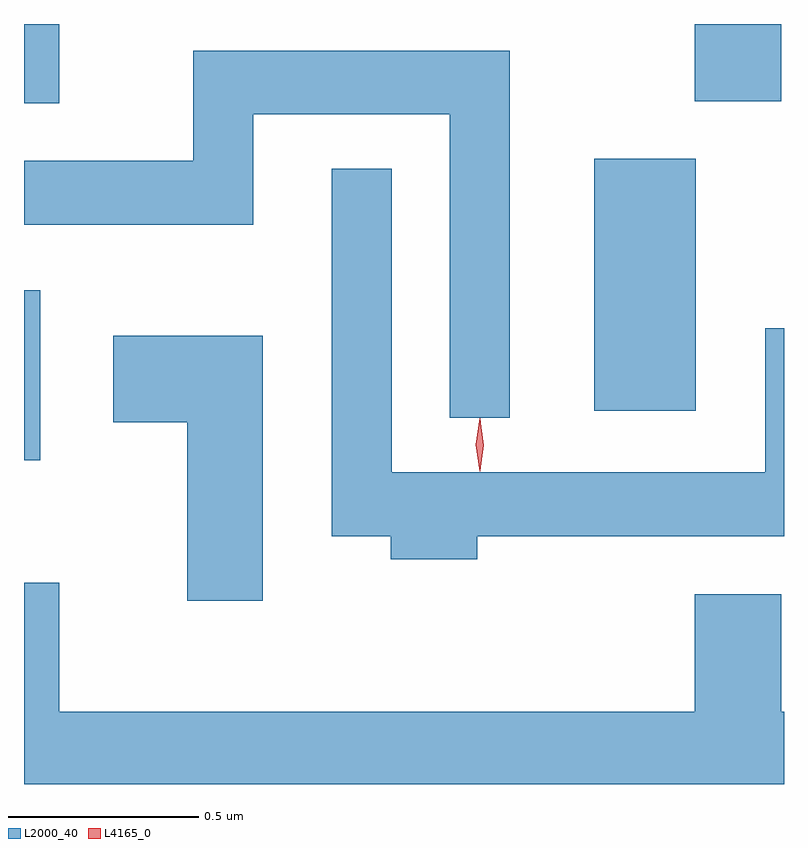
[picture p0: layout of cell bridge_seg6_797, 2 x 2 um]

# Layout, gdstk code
import gdstk
lib = gdstk.Library(unit=1e-6, precision=1e-09)
def R(c, l, rs):  # rectangles x0, y0, x1, y1
    for r in rs: c.add(gdstk.rectangle(r[:2], r[2:], *l))
def P(c, l, *ps):  # polygons
    for p in ps: c.add(gdstk.Polygon(p, *l))
L2000_40 = (2000, 40)
L4165_0 = (4165, 0)

bridge_seg6_797 = lib.new_cell('bridge_seg6_797')
R(bridge_seg6_797, L2000_40, [(418.366,1584.266,418.409,1584.714), (419.866,1584.396,420.134,1585.059), (418.366,1585.206,418.459,1585.414), (420.131,1585.211,420.359,1585.414)])
P(bridge_seg6_797, L2000_40, [(419.644,1585.344),(418.811,1585.344),(418.811,1585.054),(418.366,1585.054),(418.366,1584.886),(418.969,1584.886),(418.969,1585.176),(419.486,1585.176),(419.486,1584.378),(419.644,1584.378)],
  [(419.559,1584.066),(420.366,1584.066),(420.366,1584.613),(420.316,1584.613),(420.316,1584.234),(419.334,1584.234),(419.334,1585.033),(419.176,1585.033),(419.176,1584.066),(419.331,1584.066),(419.331,1584.006),(419.559,1584.006)],
  [(418.994,1584.594),(418.601,1584.594),(418.601,1584.366),(418.796,1584.366),(418.796,1583.896),(418.994,1583.896)],
  [(420.366,1583.604),(420.359,1583.604),(420.359,1583.914),(420.131,1583.914),(420.131,1583.604),(418.459,1583.604),(418.459,1583.944),(418.366,1583.944),(418.366,1583.414),(420.366,1583.414)])
P(bridge_seg6_797, L4165_0, [(419.565,1584.237),(419.565,1584.237),(419.555,1584.307),(419.565,1584.376),(419.565,1584.376),(419.566,1584.376),(419.575,1584.307),(419.566,1584.237)],
  [(419.566,1584.239),(419.566,1584.24),(419.556,1584.306),(419.566,1584.372),(419.566,1584.373),(419.567,1584.372),(419.576,1584.306),(419.567,1584.24)])

lib.write_gds('bridge_seg6_797.gds')
